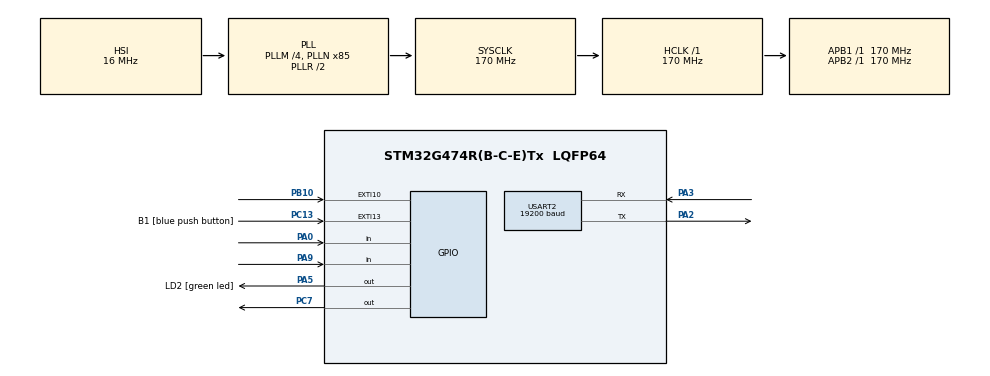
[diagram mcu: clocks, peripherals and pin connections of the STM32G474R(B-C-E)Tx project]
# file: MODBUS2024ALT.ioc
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Dma.Request0=USART2_TX
Dma.Request1=USART2_RX
Dma.USART2_RX.1.Direction=DMA_PERIPH_TO_MEMORY
Dma.USART2_RX.1.EventEnable=DISABLE
Dma.USART2_RX.1.Instance=DMA1_Channel2
Dma.USART2_RX.1.MemDataAlignment=DMA_MDATAALIGN_BYTE
Dma.USART2_RX.1.MemInc=DMA_MINC_ENABLE
Dma.USART2_RX.1.Mode=DMA_NORMAL
Dma.USART2_RX.1.PeriphDataAlignment=DMA_PDATAALIGN_BYTE
Dma.USART2_RX.1.PeriphInc=DMA_PINC_DISABLE
Dma.USART2_RX.1.Polarity=HAL_DMAMUX_REQ_GEN_RISING
Dma.USART2_RX.1.Priority=DMA_PRIORITY_LOW
Dma.USART2_RX.1.RequestNumber=1
Dma.USART2_RX.1.SignalID=NONE
Dma.USART2_RX.1.SyncEnable=DISABLE
Dma.USART2_RX.1.SyncPolarity=HAL_DMAMUX_SYNC_NO_EVENT
Dma.USART2_RX.1.SyncRequestNumber=1
Dma.USART2_RX.1.SyncSignalID=NONE
Dma.USART2_TX.0.Direction=DMA_MEMORY_TO_PERIPH
Dma.USART2_TX.0.EventEnable=DISABLE
Dma.USART2_TX.0.Instance=DMA1_Channel1
Dma.USART2_TX.0.MemDataAlignment=DMA_MDATAALIGN_BYTE
Dma.USART2_TX.0.MemInc=DMA_MINC_ENABLE
Dma.USART2_TX.0.Mode=DMA_NORMAL
Dma.USART2_TX.0.PeriphDataAlignment=DMA_PDATAALIGN_BYTE
Dma.USART2_TX.0.PeriphInc=DMA_PINC_DISABLE
Dma.USART2_TX.0.Polarity=HAL_DMAMUX_REQ_GEN_RISING
Dma.USART2_TX.0.Priority=DMA_PRIORITY_LOW
Dma.USART2_TX.0.RequestNumber=1
Dma.USART2_TX.0.SignalID=NONE
Dma.USART2_TX.0.SyncEnable=DISABLE
Dma.USART2_TX.0.SyncPolarity=HAL_DMAMUX_SYNC_NO_EVENT
Dma.USART2_TX.0.SyncRequestNumber=1
Dma.USART2_TX.0.SyncSignalID=NONE
Mcu.Family=STM32G4
Mcu.Name=STM32G474R(B-C-E)Tx
Mcu.Package=LQFP64
NVIC.DMA1_Channel1_IRQn=true\:0\:0\:false\:false\:true\:false\:true\:true
NVIC.DMA1_Channel2_IRQn=true\:0\:0\:false\:false\:true\:false\:true\:true
NVIC.EXTI15_10_IRQn=true\:0\:0\:false\:false\:true\:true\:true\:true
NVIC.PriorityGroup=NVIC_PRIORITYGROUP_4
NVIC.TIM1_UP_TIM16_IRQn=true\:0\:0\:false\:false\:true\:true\:true\:true
NVIC.TIM2_IRQn=true\:0\:0\:false\:false\:true\:true\:true\:true
NVIC.USART2_IRQn=true\:0\:0\:false\:false\:true\:true\:true\:true
PA0.GPIO_PuPd=GPIO_PULLUP
PA0.Signal=GPIO_Input
PA13.GPIO_Label=T_SWDIO
PA13.Mode=Serial_Wire
PA13.Signal=SYS_JTMS-SWDIO
PA14.GPIO_Label=T_SWCLK
PA14.Mode=Serial_Wire
PA14.Signal=SYS_JTCK-SWCLK
PA2.Mode=Asynchronous
PA2.Signal=USART2_TX
PA3.Mode=Asynchronous
PA3.Signal=USART2_RX
PA5.GPIO_Label=LD2 [green led]
PA5.Signal=GPIO_Output
PA9.GPIO_PuPd=GPIO_PULLDOWN
PA9.Signal=GPIO_Input
PB10.GPIO_ModeDefaultEXTI=GPIO_MODE_IT_RISING
PB10.GPIO_PuPd=GPIO_PULLDOWN
PB10.Signal=GPXTI10
PB3.GPIO_Label=T_SWO
PB3.Signal=SYS_JTDO-SWO
PC13.GPIO_Label=B1 [blue push button]
PC13.Signal=GPXTI13
PC14-OSC32_IN.Mode=LSE-External-Oscillator
PC14-OSC32_IN.Signal=RCC_OSC32_IN
PC15-OSC32_OUT.Mode=LSE-External-Oscillator
PC15-OSC32_OUT.Signal=RCC_OSC32_OUT
PC7.Signal=GPIO_Output
PF0-OSC_IN.Mode=HSE-External-Oscillator
PF0-OSC_IN.Signal=RCC_OSC_IN
PF1-OSC_OUT.Mode=HSE-External-Oscillator
PF1-OSC_OUT.Signal=RCC_OSC_OUT
ProjectManager.HeapSize=0x200
ProjectManager.StackSize=0x400
ProjectManager.TargetToolchain=STM32CubeIDE
RCC.ADC12Freq_Value=170000000
RCC.ADC345Freq_Value=170000000
RCC.AHBFreq_Value=170000000
RCC.APB1Freq_Value=170000000
RCC.APB1TimFreq_Value=170000000
RCC.APB2Freq_Value=170000000
RCC.APB2TimFreq_Value=170000000
RCC.CortexFreq_Value=170000000
RCC.EXTERNAL_CLOCK_VALUE=12288000
RCC.HCLKFreq_Value=170000000
RCC.HSE_VALUE=24000000
RCC.HSI48_VALUE=48000000
RCC.HSI_VALUE=16000000
RCC.PLLM=RCC_PLLM_DIV4
RCC.PLLN=85
RCC.RTCClockSelection=RCC_RTCCLKSOURCE_LSE
RCC.SYSCLKFreq_VALUE=170000000
RCC.SYSCLKSource=RCC_SYSCLKSOURCE_PLLCLK
RCC.USBFreq_Value=170000000
RCC.VCOOutputFreq_Value=340000000
TIM16.PeriodNoDither=1145
TIM16.Prescaler=169
TIM2.AutoReloadPreload=TIM_AUTORELOAD_PRELOAD_ENABLE
TIM2.PeriodNoDither=4294967295
TIM2.Prescaler=169
USART2.BaudRate=19200
USART2.OneBitSampling=UART_ONE_BIT_SAMPLE_DISABLE
USART2.Parity=PARITY_EVEN
USART2.VirtualMode-Asynchronous=VM_ASYNC
USART2.WordLength=WORDLENGTH_9B
VP_SYS_VS_DBSignals.Mode=DisableDeadBatterySignals
VP_TIM16_VS_ClockSourceINT.Mode=Enable_Timer
VP_TIM16_VS_OPM.Mode=OPM_bit
VP_TIM2_VS_ClockSourceINT.Mode=Internal
board=NUCLEO-G474RE

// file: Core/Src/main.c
/* USER CODE BEGIN Header */
/**
  ******************************************************************************
  * @file           : main.c
  * @brief          : Main program body
  ******************************************************************************
  * @attention
  *
  * Copyright (c) 2024 STMicroelectronics.
  * All rights reserved.
  *
  * This software is licensed under terms that can be found in the LICENSE file
  * in the root directory of this software component.
  * If no LICENSE file comes with this software, it is provided AS-IS.
  *
  ******************************************************************************
  */
/* USER CODE END Header */
#include "main.h"

/* USER CODE BEGIN Includes */
#include "ModBusRTU.h"
/* USER CODE END Includes */

TIM_HandleTypeDef htim2;
TIM_HandleTypeDef htim16;

UART_HandleTypeDef huart2;
DMA_HandleTypeDef hdma_usart2_tx;
DMA_HandleTypeDef hdma_usart2_rx;

/* USER CODE BEGIN PV */
ModbusHandleTypedef hmodbus;
u16u8_t registerFrame[200];
uint16_t VacuumState;
uint16_t GripperState;
uint16_t GoalPoint;
uint16_t target_point ;
uint16_t PickOrder ;
uint16_t PlaceOrder ;
uint16_t Pick = 0 ;
uint16_t Place = 0 ;
uint64_t _micros;
uint64_t a = 0;
uint16_t status1 = 0 ;
uint16_t reset = 0 ;
uint16_t B1 = 0 ;
uint16_t Set = 0 ;
uint16_t ReSet = 0 ;
int first = 0;
int second = 0 ;
int third = 0 ;
int fourth = 0;
int fifth = 0 ;

int arrayPick[5];
int arrayPlace[5];

//static uint32_t timestamp2 = 0;
//int64_t currentTime = 0;

enum state{

	Heartbeat1,
//	Routine1,
	Vacuum1,
	Gripper_Movement1,
	set_shelves1,
	setGoalPoint1,
	run_pointmode1,
	set_home1,
	setPick_PlaceOrder1,
	run_jog_mode1
};

int mode = 0 ;
int pinState = 0 ;
int x = 0 ;
int i = 0 ;
int y = 0 ;
int z = 0 ;
/* USER CODE END PV */

void SystemClock_Config(void);
static void MX_GPIO_Init(void);
static void MX_DMA_Init(void);
static void MX_USART2_UART_Init(void);
static void MX_TIM16_Init(void);
static void MX_TIM2_Init(void);
/* USER CODE BEGIN PFP */
void Heartbeat ();
void Routine() ;
void Vacuum();
void Gripper_Movement();
void set_shelves();
void setGoalPoint();
void run_pointmode ();
void set_home ();
void setPick_PlaceOrder();
void run_jog_mode();
uint64_t micros();
void Loop();
void Reset();
void ConvertToArray();

/* USER CODE END PFP */

int main(void)
{

  /* MCU Configuration--------------------------------------------------------*/

  /* Reset of all peripherals, Initializes the Flash interface and the Systick. */
  HAL_Init();

  /* Configure the system clock */
  SystemClock_Config();

  /* Initialize all configured peripherals */
  MX_GPIO_Init();
  MX_DMA_Init();
  MX_USART2_UART_Init();
  MX_TIM16_Init();
  MX_TIM2_Init();
  /* USER CODE BEGIN 2 */
  HAL_TIM_Base_Start(&htim2);
  HAL_TIM_Base_Start_IT(&htim2);
  hmodbus.huart = &huart2;
  hmodbus.htim = &htim16;
  hmodbus.slaveAddress = 0x15;
  hmodbus.RegisterSize =200;
  Modbus_init(&hmodbus, registerFrame);
  /* USER CODE END 2 */

  /* Infinite loop */
  while (1)
  {

    /* USER CODE BEGIN 3 */
	  Set = HAL_GPIO_ReadPin(GPIOA, GPIO_PIN_0) ;
	  ReSet = HAL_GPIO_ReadPin(GPIOA, GPIO_PIN_9);
		if (ReSet == 1) {
			for (int l = 0; l < 5; l++) {
				registerFrame[0x23 + l].U16 = 0;
				i = 0;
			}
		}

		Modbus_Protocal_Worker();
//		Loop();
		Heartbeat();
		Routine();
		Vacuum();
		Gripper_Movement();
		set_shelves();
		setGoalPoint();
		run_pointmode();
		set_home();
		setPick_PlaceOrder();
		run_jog_mode();
		ConvertToArray();

		//Vacuum
//			if (registerFrame[0x02].U16 == 0b0000) {
//				VacuumState = 0; //Off
//			}
//			if (registerFrame[0x02].U16 == 0b0001) {
//				VacuumState = 1; //On
//			}
//
//
		//Gripper_Movement
//		if (registerFrame[0x03].U16 == 0b0000) {
//			GripperState = 0; //Backward
//		}
//		if (registerFrame[0x03].U16 == 0b0001) {
//			GripperState = 1; //Forward
//		}
//
//
		//set_shelves
//		if (registerFrame[0x01].U16 == 1) {
//
////				registerFrame[0x01].U16 = 0; //reset base status
//				registerFrame[0x10].U16 = 1; // update z axis status
//
//				// �?ำหนดตำ�?หน่ง�?ต่ละชั้น
//				registerFrame[0x23].U16 = 5000;
//				registerFrame[0x24].U16 = 3000;
//				registerFrame[0x25].U16 = 4000;
//				registerFrame[0x26].U16 = 2000;
//				registerFrame[0x27].U16 = 1000;
//
//				if(status == 0){
//					status = 1 ;
//					registerFrame[0x01].U16 = 1;
//				}
//
//
//				status = 1;
//				registerFrame[0x10].U16 = 0; // reset z axis status
//		}
//
//
//
		//setGoalPoint
//		if (registerFrame[0x01].U16 == 8) { // if run point mode
//			GoalPoint = (registerFrame[0x30].U16) / 10; // หาร 10 เพราะเป็นค่าที่มาจา�? base
//		}
//
		//run_pointmode
//		if (registerFrame[0x01].U16 == 8) {
//			registerFrame[0x01].U16 = 0;
//			registerFrame[0x10].U16 = 16;
//			registerFrame[0x30].U16 = target_point;
//			registerFrame[0x10].U16 = 0;
//		}
//
		//set_home
//		if (registerFrame[0x01].U16 == 0b0010) {
//			registerFrame[0x01].U16 = 0b0000;
//			registerFrame[0x10].U16 = 0b0010;
//			target_point = 0;
//			registerFrame[0x10].U16 = 0b0000;
//		}
//
		//setPick_PlaceOrder
//		if (registerFrame[0x01].U16 == 4) {
//			PickOder = registerFrame[0x21].U16; // ค่าชั้นที่ต้อง Pick
//			PlaceOder = registerFrame[0x22].U16; // ค่าชั้นที่ต้อง Place
//			//ค่าที่ได้จะเรียงติด�?ัน ex.ถ้าเซ็ตค่าในUIชั้น�?ร�?ที่ต้อง Pick คือ ชั้น1-5 ตามลำดับ ค่าชั้นที่ต้องPick จะได้ 12345
//		}
//
		//run_jog_mode
//		if (registerFrame[0x01].U16 == 0b0100) {
//			registerFrame[0x01].U16 = 0b0000;
//			// loop หยิบจับ 5 รอบ
//			registerFrame[0x10].U16 = 0b0100;
//			//condition ตำ�?หน่งที่จะไปหยิบ
//
//			registerFrame[0x10].U16 = 0b1000;
//			//		//condition ตำ�?หน่งที่จะไปวาง
//
//			registerFrame[0x10].U16 = 0b0000;
//		}

  }
  /* USER CODE END 3 */
}

void SystemClock_Config(void)
{
  RCC_OscInitTypeDef RCC_OscInitStruct = {0};
  RCC_ClkInitTypeDef RCC_ClkInitStruct = {0};

  /** Configure the main internal regulator output voltage
  */
  HAL_PWREx_ControlVoltageScaling(PWR_REGULATOR_VOLTAGE_SCALE1_BOOST);

  /** Initializes the RCC Oscillators according to the specified parameters
  * in the RCC_OscInitTypeDef structure.
  */
  RCC_OscInitStruct.OscillatorType = RCC_OSCILLATORTYPE_HSI;
  RCC_OscInitStruct.HSIState = RCC_HSI_ON;
  RCC_OscInitStruct.HSICalibrationValue = RCC_HSICALIBRATION_DEFAULT;
  RCC_OscInitStruct.PLL.PLLState = RCC_PLL_ON;
  RCC_OscInitStruct.PLL.PLLSource = RCC_PLLSOURCE_HSI;
  RCC_OscInitStruct.PLL.PLLM = RCC_PLLM_DIV4;
  RCC_OscInitStruct.PLL.PLLN = 85;
  RCC_OscInitStruct.PLL.PLLP = RCC_PLLP_DIV2;
  RCC_OscInitStruct.PLL.PLLQ = RCC_PLLQ_DIV2;
  RCC_OscInitStruct.PLL.PLLR = RCC_PLLR_DIV2;
  if (HAL_RCC_OscConfig(&RCC_OscInitStruct) != HAL_OK)
  {
    Error_Handler();
  }

  /** Initializes the CPU, AHB and APB buses clocks
  */
  RCC_ClkInitStruct.ClockType = RCC_CLOCKTYPE_HCLK|RCC_CLOCKTYPE_SYSCLK
                              |RCC_CLOCKTYPE_PCLK1|RCC_CLOCKTYPE_PCLK2;
  RCC_ClkInitStruct.SYSCLKSource = RCC_SYSCLKSOURCE_PLLCLK;
  RCC_ClkInitStruct.AHBCLKDivider = RCC_SYSCLK_DIV1;
  RCC_ClkInitStruct.APB1CLKDivider = RCC_HCLK_DIV1;
  RCC_ClkInitStruct.APB2CLKDivider = RCC_HCLK_DIV1;

  if (HAL_RCC_ClockConfig(&RCC_ClkInitStruct, FLASH_LATENCY_4) != HAL_OK)
  {
    Error_Handler();
  }
}

static void MX_TIM2_Init(void)
{

  TIM_ClockConfigTypeDef sClockSourceConfig = {0};
  TIM_MasterConfigTypeDef sMasterConfig = {0};

  htim2.Instance = TIM2;
  htim2.Init.Prescaler = 169;
  htim2.Init.CounterMode = TIM_COUNTERMODE_UP;
  htim2.Init.Period = 4294967295;
  htim2.Init.ClockDivision = TIM_CLOCKDIVISION_DIV1;
  htim2.Init.AutoReloadPreload = TIM_AUTORELOAD_PRELOAD_ENABLE;
  if (HAL_TIM_Base_Init(&htim2) != HAL_OK)
  {
    Error_Handler();
  }
  sClockSourceConfig.ClockSource = TIM_CLOCKSOURCE_INTERNAL;
  if (HAL_TIM_ConfigClockSource(&htim2, &sClockSourceConfig) != HAL_OK)
  {
    Error_Handler();
  }
  sMasterConfig.MasterOutputTrigger = TIM_TRGO_RESET;
  sMasterConfig.MasterSlaveMode = TIM_MASTERSLAVEMODE_DISABLE;
  if (HAL_TIMEx_MasterConfigSynchronization(&htim2, &sMasterConfig) != HAL_OK)
  {
    Error_Handler();
  }

}

static void MX_TIM16_Init(void)
{

  htim16.Instance = TIM16;
  htim16.Init.Prescaler = 169;
  htim16.Init.CounterMode = TIM_COUNTERMODE_UP;
  htim16.Init.Period = 1145;
  htim16.Init.ClockDivision = TIM_CLOCKDIVISION_DIV1;
  htim16.Init.RepetitionCounter = 0;
  htim16.Init.AutoReloadPreload = TIM_AUTORELOAD_PRELOAD_DISABLE;
  if (HAL_TIM_Base_Init(&htim16) != HAL_OK)
  {
    Error_Handler();
  }
  if (HAL_TIM_OnePulse_Init(&htim16, TIM_OPMODE_SINGLE) != HAL_OK)
  {
    Error_Handler();
  }

}

static void MX_USART2_UART_Init(void)
{

  huart2.Instance = USART2;
  huart2.Init.BaudRate = 19200;
  huart2.Init.WordLength = UART_WORDLENGTH_9B;
  huart2.Init.StopBits = UART_STOPBITS_1;
  huart2.Init.Parity = UART_PARITY_EVEN;
  huart2.Init.Mode = UART_MODE_TX_RX;
  huart2.Init.HwFlowCtl = UART_HWCONTROL_NONE;
  huart2.Init.OverSampling = UART_OVERSAMPLING_16;
  huart2.Init.OneBitSampling = UART_ONE_BIT_SAMPLE_DISABLE;
  huart2.Init.ClockPrescaler = UART_PRESCALER_DIV1;
  huart2.AdvancedInit.AdvFeatureInit = UART_ADVFEATURE_NO_INIT;
  if (HAL_UART_Init(&huart2) != HAL_OK)
  {
    Error_Handler();
  }
  if (HAL_UARTEx_SetTxFifoThreshold(&huart2, UART_TXFIFO_THRESHOLD_1_8) != HAL_OK)
  {
    Error_Handler();
  }
  if (HAL_UARTEx_SetRxFifoThreshold(&huart2, UART_RXFIFO_THRESHOLD_1_8) != HAL_OK)
  {
    Error_Handler();
  }
  if (HAL_UARTEx_DisableFifoMode(&huart2) != HAL_OK)
  {
    Error_Handler();
  }

}

static void MX_DMA_Init(void)
{

  /* DMA controller clock enable */
  __HAL_RCC_DMAMUX1_CLK_ENABLE();
  __HAL_RCC_DMA1_CLK_ENABLE();

  /* DMA interrupt init */
  /* DMA1_Channel1_IRQn interrupt configuration */
  HAL_NVIC_SetPriority(DMA1_Channel1_IRQn, 0, 0);
  HAL_NVIC_EnableIRQ(DMA1_Channel1_IRQn);
  /* DMA1_Channel2_IRQn interrupt configuration */
  HAL_NVIC_SetPriority(DMA1_Channel2_IRQn, 0, 0);
  HAL_NVIC_EnableIRQ(DMA1_Channel2_IRQn);

}

static void MX_GPIO_Init(void)
{
  GPIO_InitTypeDef GPIO_InitStruct = {0};

  /* GPIO Ports Clock Enable */
  __HAL_RCC_GPIOC_CLK_ENABLE();
  __HAL_RCC_GPIOF_CLK_ENABLE();
  __HAL_RCC_GPIOA_CLK_ENABLE();
  __HAL_RCC_GPIOB_CLK_ENABLE();

  /*Configure GPIO pin Output Level */
  HAL_GPIO_WritePin(LD2_GPIO_Port, LD2_Pin, GPIO_PIN_RESET);

  /*Configure GPIO pin Output Level */
  HAL_GPIO_WritePin(GPIOC, GPIO_PIN_7, GPIO_PIN_RESET);

  /*Configure GPIO pin : B1_Pin */
  GPIO_InitStruct.Pin = B1_Pin;
  GPIO_InitStruct.Mode = GPIO_MODE_IT_RISING;
  GPIO_InitStruct.Pull = GPIO_NOPULL;
  HAL_GPIO_Init(B1_GPIO_Port, &GPIO_InitStruct);

  /*Configure GPIO pin : PA0 */
  GPIO_InitStruct.Pin = GPIO_PIN_0;
  GPIO_InitStruct.Mode = GPIO_MODE_INPUT;
  GPIO_InitStruct.Pull = GPIO_PULLUP;
  HAL_GPIO_Init(GPIOA, &GPIO_InitStruct);

  /*Configure GPIO pin : LD2_Pin */
  GPIO_InitStruct.Pin = LD2_Pin;
  GPIO_InitStruct.Mode = GPIO_MODE_OUTPUT_PP;
  GPIO_InitStruct.Pull = GPIO_NOPULL;
  GPIO_InitStruct.Speed = GPIO_SPEED_FREQ_LOW;
  HAL_GPIO_Init(LD2_GPIO_Port, &GPIO_InitStruct);

  /*Configure GPIO pin : PB10 */
  GPIO_InitStruct.Pin = GPIO_PIN_10;
  GPIO_InitStruct.Mode = GPIO_MODE_IT_RISING;
  GPIO_InitStruct.Pull = GPIO_PULLDOWN;
  HAL_GPIO_Init(GPIOB, &GPIO_InitStruct);

  /*Configure GPIO pin : PC7 */
  GPIO_InitStruct.Pin = GPIO_PIN_7;
  GPIO_InitStruct.Mode = GPIO_MODE_OUTPUT_PP;
  GPIO_InitStruct.Pull = GPIO_NOPULL;
  GPIO_InitStruct.Speed = GPIO_SPEED_FREQ_LOW;
  HAL_GPIO_Init(GPIOC, &GPIO_InitStruct);

  /*Configure GPIO pin : PA9 */
  GPIO_InitStruct.Pin = GPIO_PIN_9;
  GPIO_InitStruct.Mode = GPIO_MODE_INPUT;
  GPIO_InitStruct.Pull = GPIO_PULLDOWN;
  HAL_GPIO_Init(GPIOA, &GPIO_InitStruct);

  /* EXTI interrupt init*/
  HAL_NVIC_SetPriority(EXTI15_10_IRQn, 0, 0);
  HAL_NVIC_EnableIRQ(EXTI15_10_IRQn);

}

/* USER CODE BEGIN 4 */

//void Loop(state){
//	static uint32_t timestamp = 0;
//
//	switch (state){
//	case Heartbeat1:
//			mode = 1;
//			if (timestamp < HAL_GetTick()) {
//				timestamp = HAL_GetTick() + 200;
//				registerFrame[0x00].U16 = 22881;
//				a += 1;
//
//
//			if (registerFrame[0x00].U16 == 18537) {
//				registerFrame[0x04].U16 = 0b0001;  // lead1 = off , lead2 = on
//				registerFrame[0x10].U16 = status1; // ต้องสร้างตัว�?ปรมาใส่
//
//				registerFrame[0x11].U16 = 100 * 10; // ค่าที่ได้จา�? control ต้อง *10
//				registerFrame[0x12].U16 = 100 * 10; // ค่าที่ได้จา�? control ต้อง *10
//				registerFrame[0x13].U16 = 100 * 10; // ค่าที่ได้จา�? control ต้อง *10
//				registerFrame[0x40].U16 = 100 * 10; // ค่าจา�?�?�?น X (ต้องคูณ 10 )
//			}
//			}
//
//
//		break;
//
//	case Vacuum1 :
//		mode = 3 ;
//		if (registerFrame[0x02].U16 == 0b0000) {
//			VacuumState = 0; //Off
//		}
//		if (registerFrame[0x02].U16 == 0b0001) {
//			VacuumState = 1; //On
//		}
//
//
//		break;
//
//	case Gripper_Movement1 :
//		mode = 4 ;
//		if (registerFrame[0x03].U16 == 0b0000) {
//			GripperState = 0; //Backward
//		}
//		if (registerFrame[0x03].U16 == 0b0001) {
//			GripperState = 1; //Forward
//		}
//
//
//		break;
//
//	case set_shelves1 :
//		mode = 5 ;
//		if (registerFrame[0x01].U16 == 1) {
//
//			registerFrame[0x01].U16 = 0; //reset base status
//			registerFrame[0x10].U16 = 1; // update z axis status
//			status1 = 1;
//
//			first = 1000;
//			second = 2000;
//			third = 3000;
//			fourth = 4000;
//			fifth = 5000;
//
//			B1 = HAL_GPIO_ReadPin(GPIOC, GPIO_PIN_13);
//			if (B1 == 1) {
//				registerFrame[0x01].U16 = 0;
//				registerFrame[0x10].U16 = 0;
//				status1 = 0;
////				read position every shelves
//				registerFrame[0x23].U16 = first;
//				registerFrame[0x24].U16 = second;
//				registerFrame[0x25].U16 = third;
//				registerFrame[0x26].U16 = fourth;
//				registerFrame[0x27].U16 = fifth;
//			}
//		}
//
//		break;
//
//	case setGoalPoint1:
//		mode = 6 ;
//		if (registerFrame[0x01].U16 == 8) { // if run point mode
//			GoalPoint = (registerFrame[0x30].U16) / 10; // divide 10 because data from base system
//		}
//
//		break;
//
//	case run_pointmode1 :
//		mode = 7 ;
//		if (registerFrame[0x01].U16 == 8) {
//			registerFrame[0x01].U16 = 0;
//			registerFrame[0x10].U16 = 16; // go point
//			status1 = 16 ;
//			registerFrame[0x30].U16 = target_point; // sent data go point
//			registerFrame[0x10].U16 = 0;
//			status1 = 0 ;
//		}
//
//		break;
//
//	case set_home1 :
//		mode = 8 ;
//		if (registerFrame[0x01].U16 == 0b0010) {
//			registerFrame[0x01].U16 = 0b0000;
//			registerFrame[0x10].U16 = 0b0010;
//			status1 = 2 ;
//			target_point = 0;
//			registerFrame[0x10].U16 = 0b0000;
//			status1 = 0 ;
//		}
//
//		break;
//	case setPick_PlaceOrder1 :
//		mode = 9 ;
//		if (registerFrame[0x01].U16 == 4) {
//			PickOder = registerFrame[0x21].U16; // ค่าชั้นที่ต้อง Pick
//			PlaceOder = registerFrame[0x22].U16; // ค่าชั้นที่ต้อง Place
//			//result -> pick ex. 54321 (type = int)
//		}
//
//		break;
//	case run_jog_mode1:
//		mode = 10 ;
//		if (registerFrame[0x01].U16 == 0b0100) {
//			registerFrame[0x01].U16 = 0b0000;
//			// loop หยิบจับ 5 รอบ
//			registerFrame[0x10].U16 = 0b0100;
//			status1 = 4 ;
//			//condition ตำ�?หน่งที่จะไปหยิบ
//
//			registerFrame[0x10].U16 = 0b1000;
//			status1 = 8;
//			//		//condition ตำ�?หน่งที่จะไปวาง
//
//			registerFrame[0x10].U16 = 0b0000;
//			status1 = 16 ;
//		}
//
//		break;
//}
//}

//uint64_t micros()
//{
//	return __HAL_TIM_GET_COUNTER(&htim2) + _micros;
//}
//void HAL_TIM_PeriodElapsedCallback(TIM_HandleTypeDef *htim) {
//	if (htim == &htim2) {
//		_micros += UINT32_MAX;
//	}
//}

void Heartbeat (){
	static uint32_t timestamp = 0;
	if (timestamp < HAL_GetTick()) {
		timestamp = HAL_GetTick() + 200;
		registerFrame[0x00].U16 = 22881;

	}
}

void Routine() {
	static uint32_t timestamp = 0;
	if (timestamp < HAL_GetTick()) {
		timestamp = HAL_GetTick() + 200;
		if (registerFrame[0x00].U16 == 18537) {
//			Reed_Out = HAL_GPIO_ReadPin(GPIOB, GPIO_PIN_7); // set pull up, if on = 0
//			Reed_In = HAL_GPIO_ReadPin(GPIOB, GPIO_PIN_8); // set pull up, if on = 0
//			if(Reed_Out == 0){
				registerFrame[0x04].U16 = 0b0000;  // Reed 1 = off , Reed 2 = on
//			}
//			else if (Reed_In == 0){
//				registerFrame[0x04].U16 = 0b0010;  // Reed 1 = on , Reed 2 = off
//			}
			registerFrame[0x10].U16 = status1; // z - axis status * 10
			registerFrame[0x11].U16 = 100 * 10; // z - axis position *10
			registerFrame[0x12].U16 = 100 * 10; // z - axis speed  *10
			registerFrame[0x13].U16 = 100 * 10; // z - axis acceleration *10
			registerFrame[0x40].U16 = 100 * 10; // x - axis position * 10
		}
	}
}

void Vacuum(){ // อ่านค่า Vacuum from BaseSytem
	if(registerFrame[0x02].U16 == 0b0000){
		VacuumState = 0; //Off
	}
	if(registerFrame[0x02].U16 == 0b0001){
		VacuumState = 1; //On
		}
}

void Gripper_Movement(){ // อ่านค่า Gripper from BaseSytem
	if(registerFrame[0x03].U16 == 0b0000){
			GripperState = 0; //Backward
		}
	if(registerFrame[0x03].U16 == 0b0001){
			GripperState = 1; //Forward
			}
}

void set_shelves() {
	if (registerFrame[0x01].U16 == 1) {
//		registerFrame[0x01].U16 = 0b0000; //reset base status
		registerFrame[0x10].U16 = 0b0001; // update z axis status
		status1 = 1 ;
		y += 1;
		if (Set == 1) {
			static uint32_t TimeStamp = 0;
			if (HAL_GetTick() > TimeStamp) {
				TimeStamp = HAL_GetTick() + 500;
				registerFrame[0x23 + i].U16 = 1000 * i;
				i += 1;
			}
		}
		else if (i > 4)
		{
			i = 0;
			registerFrame[0x01].U16 = 0b00000;
			registerFrame[0x10].U16 = 0b00000;
			status1 = 0;
		}
	}
}

void setGoalPoint(){
	if(registerFrame[0x01].U16 == 8){ // if run point mode
		 GoalPoint = (registerFrame[0x30].U16)/10 ; // divide 10 because data from base system
	}
}

void run_pointmode() {
	if (registerFrame[0x01].U16 == 8) {
//		registerFrame[0x01].U16 = 0;
		registerFrame[0x10].U16 = 16;
		status1 = 16 ;
		B1 = HAL_GPIO_ReadPin(GPIOC, GPIO_PIN_13);
		if (B1 == 1) {
			registerFrame[0x01].U16 = 0;
			registerFrame[0x10].U16 = 0;
			status1 = 0;
		}
	}
}

void set_home() {
	if (registerFrame[0x01].U16 == 0b0010) {
//		registerFrame[0x01].U16 = 0b0000;
		registerFrame[0x10].U16 = 0b0010;
		status1 = 2;
		GoalPoint = 0;

		B1 = HAL_GPIO_ReadPin(GPIOC, GPIO_PIN_13);
		if (B1 == 1) {
			registerFrame[0x01].U16 = 0b0000;
			registerFrame[0x10].U16 = 0b0000;
			status1 = 0;
		}
	}
}

void setPick_PlaceOrder(){
	if (registerFrame[0x01].U16 == 4) {
		PickOrder = registerFrame[0x21].U16; // ค่าชั้นที่ต้อง Pick
		PlaceOrder = registerFrame[0x22].U16; // ค่าชั้นที่ต้อง Place
	}
}

void ConvertToArray(){
	Pick = PickOrder ;
	Place = PlaceOrder ;
 	for (int i = 4; i >= 0; i--) {  // convert Pick from int to array
		arrayPick[i] = Pick % 10;
		Pick /= 10;
	}

	for (int i = 4; i >= 0; i--) {  // convert Place from int to array
		arrayPlace[i] = Place % 10;
		Place /= 10;
	}
}

void run_jog_mode() {
	if (registerFrame[0x01].U16 == 0b0100) {
//		registerFrame[0x01].U16 = 0b0000;
		// loop หยิบจับ 5 รอบ
		registerFrame[0x10].U16 = 0b0100;
		status1 = 4 ;
		//condition ตำ�?หน่งที่จะไปหยิบ

//		registerFrame[0x10].U16 = 0b1000;
//		status1 = 8 ;
//		//condition ตำ�?หน่งที่จะไปวาง

		B1 = HAL_GPIO_ReadPin(GPIOC, GPIO_PIN_13);
		if (B1 == 1) {
			registerFrame[0x01].U16 = 0b0000;
			registerFrame[0x10].U16 = 0b0000;
			status1 = 0;
		}

	}
}

//void HAL_GPIO_EXTI_Callback(uint16_t GPIO_Pin) {
//	x += 1;
//	if (GPIO_Pin == GPIO_PIN_10) {
//		if (mode == 0)
//		{
//			mode = 1;
//		}
//		else
//		{
//			mode = 0;
//		}
//	}
//}
/* USER CODE END 4 */

void Error_Handler(void)
{
  __disable_irq();
  while (1)
  {
  }
}
